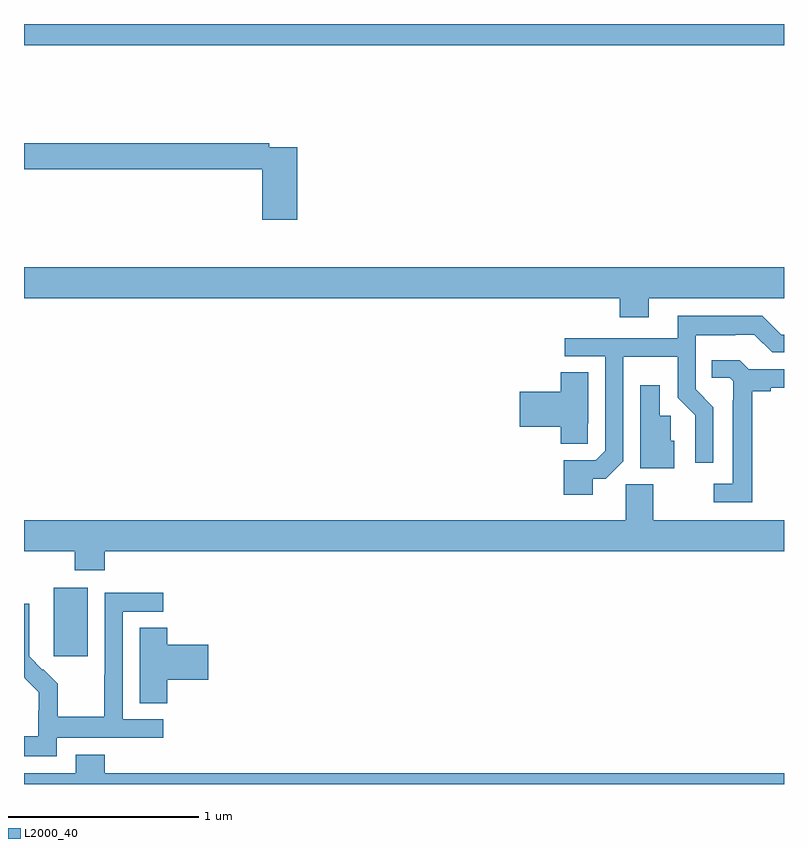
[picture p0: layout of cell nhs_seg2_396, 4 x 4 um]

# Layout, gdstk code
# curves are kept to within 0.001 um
import gdstk
lib = gdstk.Library(unit=1e-6, precision=1e-09)
def R(c, l, rs):  # rectangles x0, y0, x1, y1
    for r in rs: c.add(gdstk.rectangle(r[:2], r[2:], *l))
def P(c, l, *ps):  # polygons
    for p in ps: c.add(gdstk.Polygon(p, *l))
L2000_40 = (2000, 40)

nhs_seg2_396 = lib.new_cell('nhs_seg2_396')
R(nhs_seg2_396, L2000_40, [(131.156,592.473,131.335,592.834), (131,595.688,135,595.8)])
P(nhs_seg2_396, L2000_40, [(132.437,595.152),(132.29,595.152),(132.29,595.172),(131,595.172),(131,595.036),(132.254,595.036),(132.254,594.771),(132.437,594.771)],
  [(134.287,594.356),(135,594.356),(135,594.52),(131,594.52),(131,594.356),(134.135,594.356),(134.135,594.257),(134.287,594.257)],
  [(133.993,593.407),(134.061,593.407),(134.154,593.499),(134.154,594.05),(134.442,594.05),(134.442,593.834),(134.534,593.742),(134.534,593.49),(134.628,593.49),(134.628,593.784),(134.535,593.877),(134.535,594.161),(134.744,594.161),(134.744,594.165),(134.844,594.165),(134.937,594.072),(135,594.072),(135,594.165),(134.985,594.165),(134.885,594.265),(134.441,594.265),(134.441,594.147),(133.845,594.147),(133.845,594.051),(134.058,594.051),(134.058,593.553),(134.01,593.505),(133.841,593.505),(133.841,593.322),(133.993,593.322)],
  [(134.833,593.866),(134.929,593.866),(134.929,593.886),(135,593.886),(135,593.982),(134.814,593.982),(134.766,594.029),(134.62,594.029),(134.62,593.937),(134.715,593.937),(134.733,593.919),(134.733,593.819),(134.729,593.819),(134.729,593.379),(134.631,593.379),(134.631,593.283),(134.833,593.283)],
  [(133.968,593.698),(133.969,593.698),(133.969,593.966),(133.826,593.966),(133.826,593.864),(133.608,593.864),(133.608,593.681),(133.826,593.681),(133.826,593.59),(133.968,593.59)],
  [(134.422,593.607),(134.403,593.607),(134.403,593.739),(134.347,593.739),(134.347,593.899),(134.243,593.899),(134.243,593.462),(134.422,593.462)],
  [(131.426,593.024),(135,593.024),(135,593.188),(134.313,593.188),(134.313,593.377),(134.166,593.377),(134.166,593.188),(131,593.188),(131,593.024),(131.266,593.024),(131.266,592.925),(131.426,592.925)],
  [(131.172,592.044),(131.734,592.044),(131.734,592.14),(131.52,592.14),(131.52,592.707),(131.734,592.707),(131.734,592.806),(131.424,592.806),(131.424,592.376),(131.422,592.376),(131.422,592.153),(131.177,592.153),(131.177,592.327),(131.1,592.404),(131.097,592.401),(131.027,592.472),(131.028,592.748),(131,592.748),(131,592.362),(131.005,592.357),(131.004,592.356),(131.078,592.282),(131.078,592.185),(131.076,592.185),(131.076,592.051),(131,592.051),(131,591.947),(131.172,591.947)],
  [(131.753,592.349),(131.971,592.349),(131.971,592.532),(131.753,592.532),(131.753,592.622),(131.609,592.622),(131.609,592.225),(131.753,592.225)],
  [(135,591.856),(131.426,591.856),(131.426,591.955),(131.273,591.955),(131.273,591.856),(131,591.856),(131,591.8),(135,591.8)])

lib.write_gds('nhs_seg2_396.gds')
